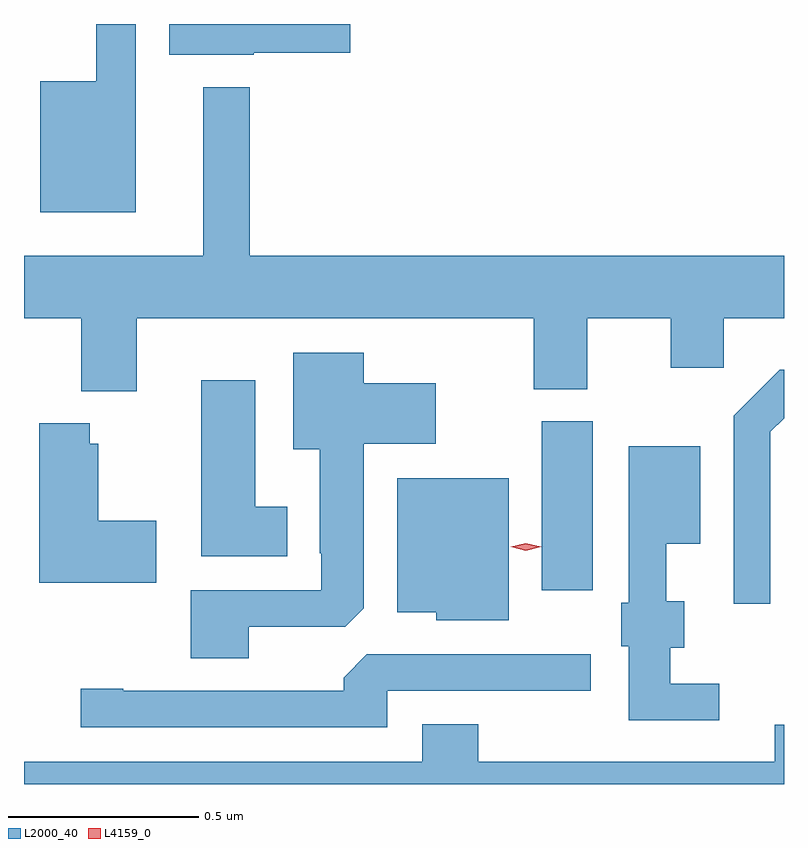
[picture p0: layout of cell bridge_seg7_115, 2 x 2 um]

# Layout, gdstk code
import gdstk
lib = gdstk.Library(unit=1e-6, precision=1e-09)
def R(c, l, rs):  # rectangles x0, y0, x1, y1
    for r in rs: c.add(gdstk.rectangle(r[:2], r[2:], *l))
def P(c, l, *ps):  # polygons
    for p in ps: c.add(gdstk.Polygon(p, *l))
L2000_40 = (2000, 40)
L4159_0 = (4159, 0)

bridge_seg7_115 = lib.new_cell('bridge_seg7_115')
R(bridge_seg7_115, L2000_40, [(1133.714,1001.232,1133.848,1001.676)])
P(bridge_seg7_115, L2000_40, [(1132.956,1002.647),(1133.209,1002.647),(1133.209,1002.722),(1132.733,1002.722),(1132.733,1002.641),(1132.956,1002.641)],
  [(1132.645,1002.722),(1132.541,1002.722),(1132.541,1002.571),(1132.394,1002.571),(1132.394,1002.227),(1132.645,1002.227)],
  [(1132.648,1001.948),(1133.693,1001.948),(1133.693,1001.761),(1133.833,1001.761),(1133.833,1001.948),(1134.053,1001.948),(1134.053,1001.817),(1134.192,1001.817),(1134.192,1001.948),(1134.351,1001.948),(1134.351,1002.112),(1132.945,1002.112),(1132.945,1002.556),(1132.823,1002.556),(1132.823,1002.112),(1132.351,1002.112),(1132.351,1001.948),(1132.501,1001.948),(1132.501,1001.756),(1132.648,1001.756)],
  [(1132.942,1001.136),(1133.196,1001.136),(1133.245,1001.185),(1133.245,1001.618),(1133.434,1001.618),(1133.434,1001.776),(1133.245,1001.776),(1133.245,1001.857),(1133.06,1001.857),(1133.06,1001.603),(1133.129,1001.603),(1133.129,1001.329),(1133.133,1001.329),(1133.133,1001.232),(1132.79,1001.232),(1132.79,1001.053),(1132.942,1001.053)],
  [(1134.315,1001.649),(1134.351,1001.685),(1134.351,1001.812),(1134.34,1001.812),(1134.219,1001.691),(1134.219,1001.196),(1134.315,1001.196)],
  [(1133.044,1001.452),(1132.96,1001.452),(1132.96,1001.785),(1132.817,1001.785),(1132.817,1001.321),(1133.044,1001.321)],
  [(1132.699,1001.415),(1132.546,1001.415),(1132.546,1001.617),(1132.524,1001.617),(1132.524,1001.671),(1132.391,1001.671),(1132.391,1001.252),(1132.699,1001.252)],
  [(1134.181,1000.986),(1134.052,1000.986),(1134.052,1001.081),(1134.088,1001.081),(1134.088,1001.203),(1134.041,1001.203),(1134.041,1001.354),(1134.13,1001.354),(1134.13,1001.611),(1133.943,1001.611),(1133.943,1001.199),(1133.923,1001.199),(1133.923,1001.085),(1133.943,1001.085),(1133.943,1000.89),(1134.181,1000.89)],
  [(1133.626,1001.527),(1133.333,1001.527),(1133.333,1001.174),(1133.436,1001.174),(1133.436,1001.153),(1133.626,1001.153)],
  [(1133.307,1000.968),(1133.842,1000.968),(1133.842,1001.064),(1133.253,1001.064),(1133.192,1001.002),(1133.192,1000.968),(1132.612,1000.968),(1132.612,1000.973),(1132.5,1000.973),(1132.5,1000.872),(1133.307,1000.872)],
  [(1134.351,1000.878),(1134.326,1000.878),(1134.326,1000.78),(1133.547,1000.78),(1133.547,1000.879),(1133.399,1000.879),(1133.399,1000.78),(1132.351,1000.78),(1132.351,1000.722),(1134.351,1000.722)])
P(bridge_seg7_115, L4159_0, [(1133.672,1001.336),(1133.632,1001.346),(1133.632,1001.346),(1133.632,1001.346),(1133.672,1001.356),(1133.712,1001.346),(1133.712,1001.346),(1133.712,1001.346)])

lib.write_gds('bridge_seg7_115.gds')
